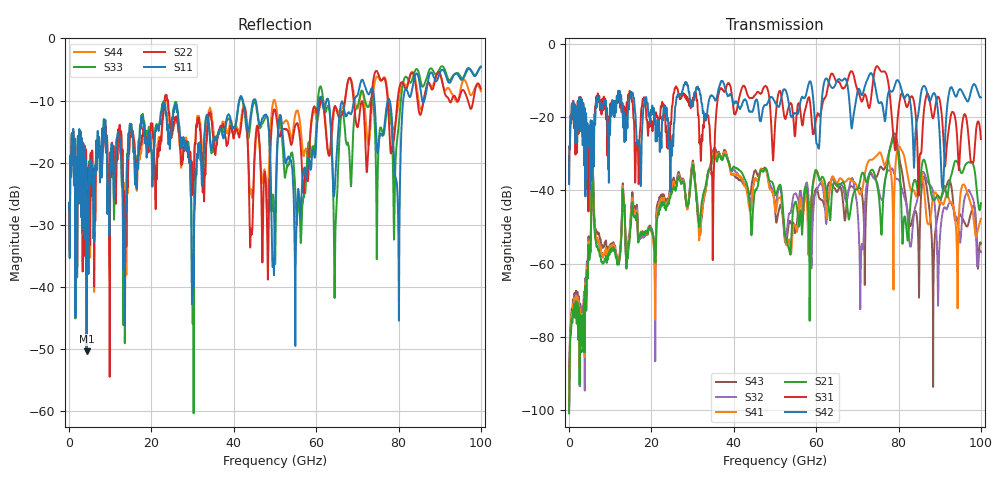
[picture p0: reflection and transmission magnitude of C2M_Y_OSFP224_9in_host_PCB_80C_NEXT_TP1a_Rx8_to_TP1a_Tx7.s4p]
# GHz S RI R 45
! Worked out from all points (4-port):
!   4000 points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, 25 MHz to 100 GHz, reference 45 ohm
!   strongest paths, dB at 25 MHz, 25.02 GHz, 50.02 GHz, 75.03 GHz, 100 GHz:
!     S42: -38.3, -28.8, -16.0, -15.6, -14.6
!     S31: -38.0, -16.9, -22.0, -6.2, -26.0
!     S21: -100.9, -40.4, -40.7, -39.9, -43.5
!     S41: -99.9, -38.7, -45.0, -30.1, -47.8
!     S32: -99.1, -39.2, -43.7, -38.9, -56.9
!     S43: -98.2, -37.6, -45.2, -35.5, -54.5
!   lowest |S11| = -50.4 dB at 4.25 GHz (marker M1), VSWR 1.01, Z = 44.7 + j0.0658 ohm
!   |S11| at or under -10 dB: start of sweep to 41.31 GHz; 45.32 GHz to 60.72 GHz (15.4 GHz wide, 29 % of centre); 63 GHz to 69.2 GHz (6.201 GHz wide, 9.38 % of centre) (the widest 3 of 8)
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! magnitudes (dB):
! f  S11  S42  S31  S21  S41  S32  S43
! 25 MHz  -27.4  -38.3  -38.0  -100.9  -99.9  -99.1  -98.2
! 4.25 GHz  -50.4  -25.3  -31.3  -65.9  -64.7  -65.2  -63.4
! 35.33 GHz  -15.9  -15.0  -29.2  -30.2  -29.2  -29.3  -28.3
! 53.42 GHz  -19.4  -16.8  -16.7  -56.2  -53.4  -46.4  -48.8
! 79.03 GHz  -20.8  -11.5  -27.9  -25.5  -38.9  -35.8  -24.4
! 90.67 GHz  -5.0  -39.5  -21.7  -40.4  -43.7  -46.2  -41.1
! 100 GHz  -4.5  -14.6  -26.0  -43.5  -47.8  -56.9  -54.5
